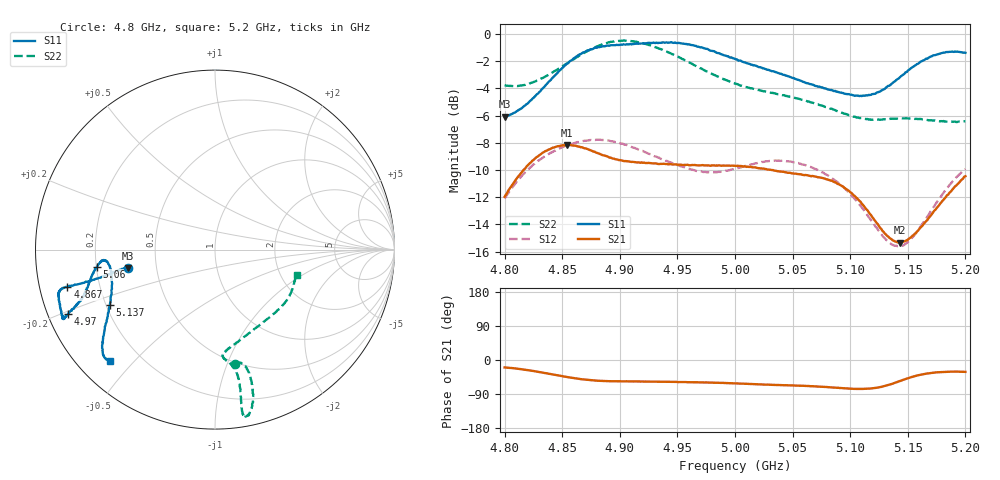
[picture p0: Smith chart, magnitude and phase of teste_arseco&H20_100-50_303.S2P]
! Network Analyzer HP8722D
! Hewlett-Packard
! Data name: Linha & Wilkinson
! Saver's name: Rodrigo Anjos
! Comments: Teste da utilização de aquisição
! continua pelo VNA HP8722D
! Time and date: 6/5/2025 15:05
!  Frequency  S11  S21  S12  S22
# HZ  S  MA R 50
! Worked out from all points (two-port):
!   401 points, 4.8 GHz to 5.2 GHz, reference 50 ohm
!   highest |S21| = -8.16 dB at 4.854 GHz (marker M1); lowest = -15.3 dB at 5.143 GHz (marker M2)
!   |S21| within 3 dB of the highest: 4.806 GHz to 5.093 GHz (286.6 MHz wide, 5.79 % of centre); 5.191839 GHz to end of sweep
!   lowest |S11| = -6.1 dB at 4.8 GHz (marker M3), VSWR 2.97, Z = 17 - j4.59 ohm
!   |S11| at or under -10 dB: nowhere
!   |S22| runs from -6.5 to -0.5 dB; largest |S21 - S12| = 0.62
!   S11 on the Smith chart (normalised r, x): 4.8 GHz: 0.34, -0.09; 4.867 GHz: 0.08, -0.12; 4.97 GHz: 0.06, -0.21; 5.06 GHz: 0.20, -0.07; 5.137 GHz: 0.22, -0.24; 5.2 GHz: 0.09, -0.43
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4.8e9  0.4964 -168.2  0.2519 -19.6  0.2487 -141.0  0.6483 -80.3
4.826e9  0.5878 -167.3  0.3473 -29.7  0.3329 -144.5  0.6678 -75.7
4.854e9  0.7762 -165.8  0.3907 -44.9  0.3894 -149.7  0.7785 -74.6
4.867e9  0.8482 -165.7  0.3836 -50.8  0.403 -151.9  0.8421 -75.4
4.88e9  0.8893 -165.5  0.3658 -54.6  0.4086 -154.1  0.8993 -76.8
4.902e9  0.9129 -162.2  0.3426 -56.4  0.3952 -156.9  0.9446 -79.3
4.934e9  0.9276 -156.4  0.3324 -57.4  0.3511 -155.6  0.8833 -80.4
4.95e9  0.9254 -155.5  0.3307 -58.2  0.3297 -152.8  0.8255 -80.0
4.97e9  0.8924 -156.3  0.3288 -59.1  0.3126 -146.9  0.7475 -79.6
5e9  0.8094 -159.0  0.3276 -61.9  0.3194 -137.2  0.6571 -81.3
5.036e9  0.7224 -165.5  0.3136 -65.9  0.3425 -134.4  0.6021 -85.7
5.06e9  0.6653 -171.6  0.3027 -68.1  0.3303 -136.1  0.5699 -84.2
5.067e9  0.6523 -173.0  0.3007 -69.1  0.3227 -136.8  0.5596 -82.6
5.086e9  0.6163 -174.4  0.2857 -72.8  0.2911 -138.4  0.5264 -75.3
5.103e9  0.5949 -171.4  0.2552 -76.2  0.2502 -138.6  0.4965 -65.2
5.117e9  0.5963 -164.8  0.2182 -75.5  0.2097 -135.1  0.4853 -55.1
5.134e9  0.645 -154.2  0.1781 -65.3  0.1707 -120.7  0.4865 -43.3
5.137e9  0.6613 -152.3  0.1742 -62.5  0.1677 -116.9  0.4883 -41.5
5.143e9  0.6922 -149.4  0.1711 -55.9  0.1661 -109.0  0.4888 -38.0
5.154e9  0.7548 -144.4  0.1812 -44.5  0.1789 -95.0  0.4881 -32.4
5.172e9  0.8346 -138.9  0.2206 -33.5  0.2296 -81.1  0.4801 -24.6
5.2e9  0.8527 -133.6  0.2999 -31.3  0.3185 -76.9  0.4771 -17.5
